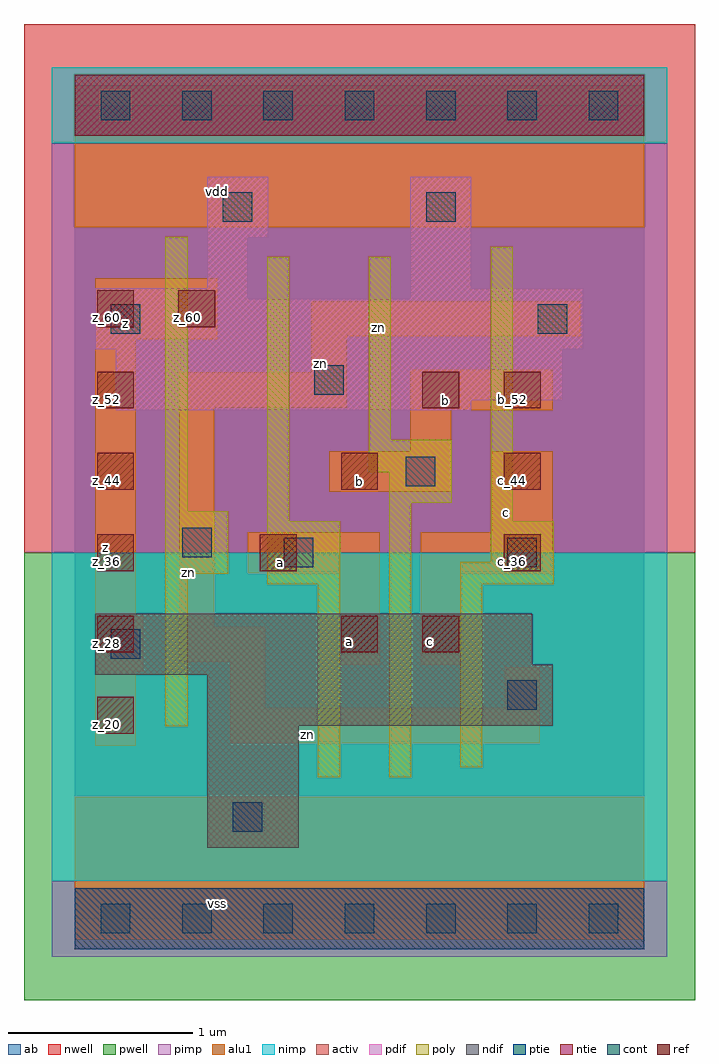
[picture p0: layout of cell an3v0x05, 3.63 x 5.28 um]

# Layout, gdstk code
import gdstk
lib = gdstk.Library(unit=1e-6, precision=2.5e-09)
def R(c, l, rs):  # rectangles x0, y0, x1, y1
    for r in rs: c.add(gdstk.rectangle(r[:2], r[2:], *l))
def A(c, l, x, y, w, h, nx, ny, dx, dy):  # array of equal rectangles
    R(c, l, [(x+i*dx, y+j*dy, x+i*dx+w, y+j*dy+h) for i in range(nx) for j in range(ny)])
ndif = (3, 0)
pdif = (4, 0)
ntie = (5, 0)
ptie = (6, 0)
ref = (24, 0)
cont = (25, 0)
pwell = (41, 0)
nwell = (42, 0)
activ = (43, 0)
pimp = (44, 0)
nimp = (45, 0)
poly = (46, 0)
alu1 = (49, 0)
ab = (63, 0)

an3v0x05 = lib.new_cell('an3v0x05')
R(an3v0x05, ndif, [(0.715,0.385,1.21,1.045), (0.715,1.045,2.585,1.32), (0.11,1.32,2.585,1.375), (0.11,1.375,2.475,1.65)])
R(an3v0x05, pdif, [(0.22,2.75,2.145,2.805), (0.22,2.805,2.64,3.08), (0.11,3.08,2.75,3.355), (0.11,3.355,0.935,3.41), (1.815,3.355,2.75,3.41), (0.715,3.41,0.935,3.685), (1.815,3.41,2.145,4.015), (0.715,3.685,1.045,4.015)])
R(an3v0x05, ntie, [(0,4.235,3.08,4.565)])
R(an3v0x05, ptie, [(0,-0.165,3.08,0.165)])
A(an3v0x05, ref, 0.12, 1, 0.2, 0.2, 1, 6, 0, 0.44)
A(an3v0x05, ref, 2.32, 1.88, 0.2, 0.2, 1, 3, 0, 0.44)
R(an3v0x05, ref, [(1.44,1.44,1.64,1.64), (1.88,1.44,2.08,1.64), (1,1.88,1.2,2.08), (1.44,2.32,1.64,2.52), (1.88,2.76,2.08,2.96), (0.56,3.2,0.76,3.4)])
A(an3v0x05, cont, 0.14, -0.08, 0.16, 0.16, 7, 2, 0.44, 4.4)
R(an3v0x05, cont, [(0.855,0.47,1.015,0.63), (2.34,1.13,2.5,1.29), (0.195,1.405,0.355,1.565), (1.13,1.9,1.29,2.06), (2.34,1.9,2.5,2.06), (0.58,1.955,0.74,2.115), (1.79,2.34,1.95,2.5), (1.295,2.835,1.455,2.995), (0.195,3.165,0.355,3.325), (2.505,3.165,2.665,3.325), (0.8,3.77,0.96,3.93), (1.9,3.77,2.06,3.93)])
R(an3v0x05, pwell, [(-0.275,-0.44,3.355,1.98)])
R(an3v0x05, nwell, [(-0.275,1.98,3.355,4.84)])
R(an3v0x05, activ, [(0,-0.165,3.08,0.165), (0.715,0.385,1.21,1.045), (0.715,1.045,2.585,1.32), (0.11,1.32,2.585,1.375), (0.11,1.375,2.475,1.65), (0.22,2.75,2.145,2.805), (0.22,2.805,2.64,3.08), (0.11,3.08,2.75,3.355), (0.11,3.355,0.935,3.41), (1.815,3.355,2.75,3.41), (0.715,3.41,0.935,3.685), (1.815,3.41,2.145,4.015), (0.715,3.685,1.045,4.015), (0,4.235,3.08,4.565)])
R(an3v0x05, pimp, [(-0.125,-0.205,3.205,0.205), (-0.125,1.98,3.205,4.195)])
R(an3v0x05, nimp, [(-0.125,0.205,3.205,1.98), (-0.125,4.195,3.205,4.605)])
R(an3v0x05, poly, [(1.315,0.765,1.435,1.81), (1.7,0.765,1.82,2.25), (2.085,0.82,2.205,1.81), (0.49,1.04,0.61,1.865), (1.04,1.81,1.435,2.15), (2.085,1.81,2.59,1.93), (0.49,1.865,0.83,2.205), (2.25,1.93,2.59,2.15), (1.04,2.15,1.16,3.58), (2.25,2.15,2.37,3.635), (0.49,2.205,0.61,3.69), (1.7,2.25,2.04,2.415), (1.59,2.415,2.04,2.59), (1.59,2.59,1.71,3.58)])
R(an3v0x05, alu1, [(0,-0.11,3.08,0.66), (0.11,0.935,0.33,1.335), (0.84,0.95,2.515,1.14), (0.84,1.14,1.03,1.39), (2.325,1.14,2.515,1.36), (0.11,1.335,0.37,1.635), (1.43,1.375,1.65,1.87), (1.87,1.375,2.09,1.87), (0.565,1.39,1.03,1.58), (0.565,1.58,0.755,2.765), (0.11,1.635,0.33,3.135), (0.935,1.87,1.65,2.09), (1.87,1.87,2.585,2.09), (2.255,2.09,2.585,2.53), (1.375,2.31,2.035,2.53), (1.815,2.53,2.035,2.75), (1.815,2.75,2.585,2.97), (0.565,2.765,1.47,2.955), (1.28,2.955,1.47,3.15), (0.11,3.135,0.77,3.465), (1.28,3.15,2.735,3.34), (0,3.74,3.08,4.51)])
R(an3v0x05, ab, [(0,0,3.08,4.4)])
an3v0x05.add(gdstk.Label('vss', (0.77,0.0825), layer=49, texttype=0))
an3v0x05.add(gdstk.Label('zn', (1.2575,0.9975), layer=49, texttype=0))
an3v0x05.add(gdstk.Label('c', (1.925,1.4975), layer=49, texttype=0))
an3v0x05.add(gdstk.Label('a', (1.485,1.4975), layer=49, texttype=0))
an3v0x05.add(gdstk.Label('a', (1.1125,1.925), layer=49, texttype=0))
an3v0x05.add(gdstk.Label('c', (2.3375,2.2), layer=49, texttype=0))
an3v0x05.add(gdstk.Label('b', (1.54,2.365), layer=49, texttype=0))
an3v0x05.add(gdstk.Label('b', (2.0075,2.805), layer=49, texttype=0))
an3v0x05.add(gdstk.Label('zn', (0.6125,1.875), layer=49, texttype=0))
an3v0x05.add(gdstk.Label('zn', (1.3275,3.0025), layer=49, texttype=0))
an3v0x05.add(gdstk.Label('z', (0.165,2.01), layer=49, texttype=0))
an3v0x05.add(gdstk.Label('zn', (1.6425,3.1975), layer=49, texttype=0))
an3v0x05.add(gdstk.Label('z', (0.275,3.2175), layer=49, texttype=0))
an3v0x05.add(gdstk.Label('vdd', (0.77,3.9325), layer=49, texttype=0))
an3v0x05.add(gdstk.Label('z_60', (0.61,3.25), layer=24, texttype=0))
an3v0x05.add(gdstk.Label('a_36', (1.05,1.93), layer=24, texttype=0))
an3v0x05.add(gdstk.Label('a_28', (1.49,1.49), layer=24, texttype=0))
an3v0x05.add(gdstk.Label('b_44', (1.49,2.37), layer=24, texttype=0))
an3v0x05.add(gdstk.Label('c_28', (1.93,1.49), layer=24, texttype=0))
an3v0x05.add(gdstk.Label('b_52', (1.93,2.81), layer=24, texttype=0))
an3v0x05.add(gdstk.Label('z_20', (0.17,1.05), layer=24, texttype=0))
an3v0x05.add(gdstk.Label('z_28', (0.17,1.49), layer=24, texttype=0))
an3v0x05.add(gdstk.Label('z_36', (0.17,1.93), layer=24, texttype=0))
an3v0x05.add(gdstk.Label('z_44', (0.17,2.37), layer=24, texttype=0))
an3v0x05.add(gdstk.Label('z_52', (0.17,2.81), layer=24, texttype=0))
an3v0x05.add(gdstk.Label('z_60', (0.17,3.25), layer=24, texttype=0))
an3v0x05.add(gdstk.Label('c_36', (2.37,1.93), layer=24, texttype=0))
an3v0x05.add(gdstk.Label('c_44', (2.37,2.37), layer=24, texttype=0))
an3v0x05.add(gdstk.Label('b_52', (2.37,2.81), layer=24, texttype=0))

lib.write_gds('an3v0x05.gds')
